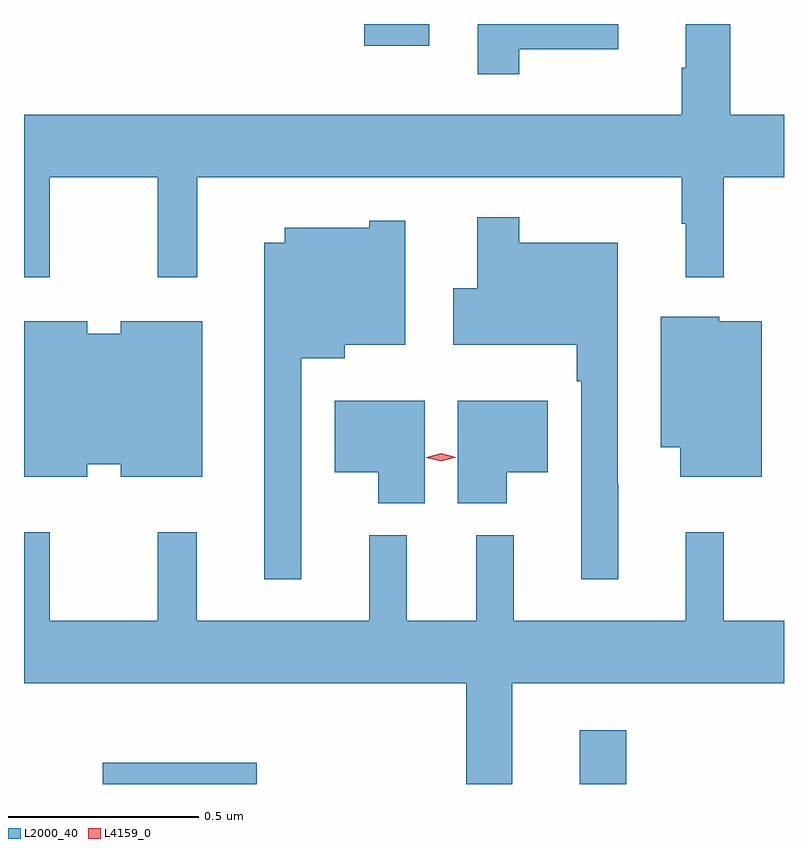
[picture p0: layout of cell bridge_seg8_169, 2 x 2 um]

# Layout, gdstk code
import gdstk
lib = gdstk.Library(unit=1e-6, precision=1e-09)
def R(c, l, rs):  # rectangles x0, y0, x1, y1
    for r in rs: c.add(gdstk.rectangle(r[:2], r[2:], *l))
def P(c, l, *ps):  # polygons
    for p in ps: c.add(gdstk.Polygon(p, *l))
L2000_40 = (2000, 40)
L4159_0 = (4159, 0)

bridge_seg8_169 = lib.new_cell('bridge_seg8_169')
R(bridge_seg8_169, L2000_40, [(544.707,1090.927,545.113,1090.983), (545.963,1090.927,546.085,1091.068), (545.396,1092.87,545.566,1092.927)])
P(bridge_seg8_169, L2000_40, [(545.803,1092.86),(546.064,1092.86),(546.064,1092.927),(545.694,1092.927),(545.694,1092.795),(545.803,1092.795)],
  [(544.568,1092.524),(544.852,1092.524),(544.852,1092.261),(544.956,1092.261),(544.956,1092.524),(546.231,1092.524),(546.231,1092.401),(546.242,1092.401),(546.242,1092.261),(546.341,1092.261),(546.341,1092.524),(546.5,1092.524),(546.5,1092.688),(546.359,1092.688),(546.359,1092.927),(546.242,1092.927),(546.242,1092.812),(546.231,1092.812),(546.231,1092.688),(544.5,1092.688),(544.5,1092.261),(544.568,1092.261)],
  [(546.064,1091.717),(546.063,1091.717),(546.063,1092.352),(545.803,1092.352),(545.803,1092.418),(545.693,1092.418),(545.693,1092.231),(545.63,1092.231),(545.63,1092.083),(545.955,1092.083),(545.955,1091.987),(545.967,1091.987),(545.967,1091.466),(546.064,1091.466)],
  [(545.229,1092.047),(545.344,1092.047),(545.344,1092.083),(545.503,1092.083),(545.503,1092.409),(545.409,1092.409),(545.409,1092.391),(545.186,1092.391),(545.186,1092.352),(545.132,1092.352),(545.132,1091.466),(545.229,1091.466)],
  [(546.442,1092.145),(546.33,1092.145),(546.33,1092.157),(546.176,1092.157),(546.176,1091.813),(546.227,1091.813),(546.227,1091.735),(546.442,1091.735)],
  [(544.666,1091.768),(544.754,1091.768),(544.754,1091.735),(544.969,1091.735),(544.969,1092.145),(544.754,1092.145),(544.754,1092.112),(544.666,1092.112),(544.666,1092.145),(544.5,1092.145),(544.5,1091.735),(544.666,1091.735)],
  [(545.77,1091.747),(545.878,1091.747),(545.878,1091.935),(545.642,1091.935),(545.642,1091.666),(545.77,1091.666)],
  [(545.554,1091.935),(545.318,1091.935),(545.318,1091.747),(545.432,1091.747),(545.432,1091.666),(545.554,1091.666)],
  [(545.664,1090.927),(545.785,1090.927),(545.785,1091.192),(546.5,1091.192),(546.5,1091.356),(546.341,1091.356),(546.341,1091.59),(546.242,1091.59),(546.242,1091.356),(545.789,1091.356),(545.789,1091.581),(545.69,1091.581),(545.69,1091.356),(545.507,1091.356),(545.507,1091.581),(545.408,1091.581),(545.408,1091.356),(544.955,1091.356),(544.955,1091.59),(544.852,1091.59),(544.852,1091.356),(544.568,1091.356),(544.568,1091.59),(544.5,1091.59),(544.5,1091.192),(545.664,1091.192)])
P(bridge_seg8_169, L4159_0, [(545.598,1091.777),(545.558,1091.786),(545.558,1091.786),(545.558,1091.787),(545.598,1091.797),(545.638,1091.787),(545.638,1091.787),(545.638,1091.787)])

lib.write_gds('bridge_seg8_169.gds')
